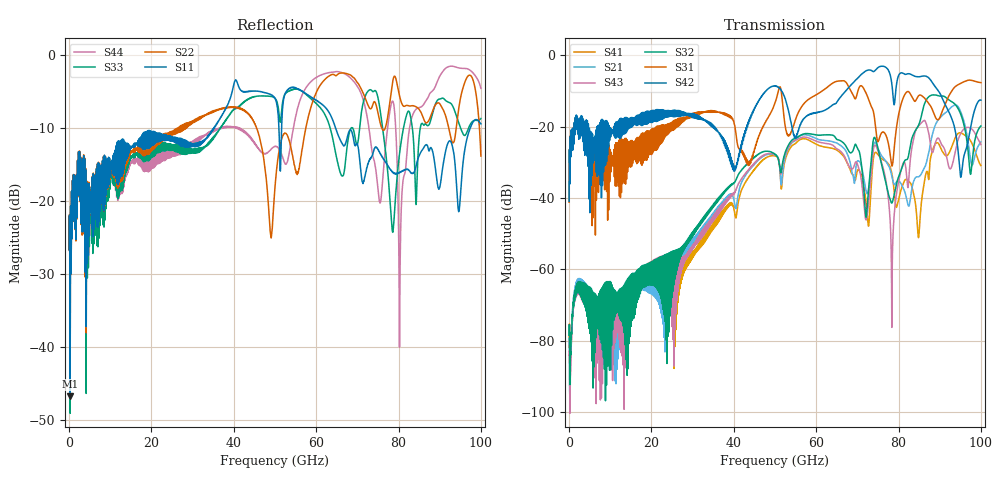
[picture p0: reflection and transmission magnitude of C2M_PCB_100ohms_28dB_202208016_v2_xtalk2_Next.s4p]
! Info: Touchstone file created by Circ.  Input file=Intel_C2M_200G_12p0in_202208016_staggered.circ
# Hz S RI R 50
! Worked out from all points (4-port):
!   10000 points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, 10 MHz to 100 GHz, reference 50 ohm
!   strongest paths, dB at 10 MHz, 25.01 GHz, 50.01 GHz, 75.01 GHz, 100 GHz:
!     S42: -40.9, -15.8, -8.6, -3.4, -12.6
!     S31: -41.1, -19.2, -13.4, -24.2, -7.7
!     S32: -78.4, -65.8, -27.7, -26.1, -19.8
!     S43: -82.8, -67.2, -27.8, -26.8, -25.0
!     S21: -79.4, -64.4, -27.8, -26.0, -24.2
!     S41: -81.8, -68.3, -28.1, -27.8, -30.9
!   lowest |S11| = -46.8 dB at 260 MHz (marker M1), VSWR 1.01, Z = 49.9 - j0.445 ohm
!   |S11| at or under -10 dB: start of sweep to 35.13 GHz; 50.96 GHz to 51.6 GHz (644.3 MHz wide, 1.26 % of centre); 64.76 GHz to 97.38 GHz (32.63 GHz wide, 40.2 % of centre)
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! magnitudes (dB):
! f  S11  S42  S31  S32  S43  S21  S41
! 10 MHz  -26.6  -40.9  -41.1  -78.4  -82.8  -79.4  -81.8
! 260 MHz  -46.8  -24.2  -24.3  -87.0  -93.9  -89.5  -88.0
! 56.26 GHz  -4.8  -19.2  -14.8  -22.4  -23.1  -22.5  -23.5
! 74.55 GHz  -12.5  -3.9  -21.4  -23.9  -25.4  -24.8  -27.2
! 78.41 GHz  -15.9  -8.3  -31.0  -41.3  -66.2  -34.0  -33.3
! 84.99 GHz  -13.7  -6.0  -11.2  -19.2  -19.6  -34.0  -49.9
! 100 GHz  -9.4  -12.6  -7.7  -19.8  -25.0  -24.2  -30.9
